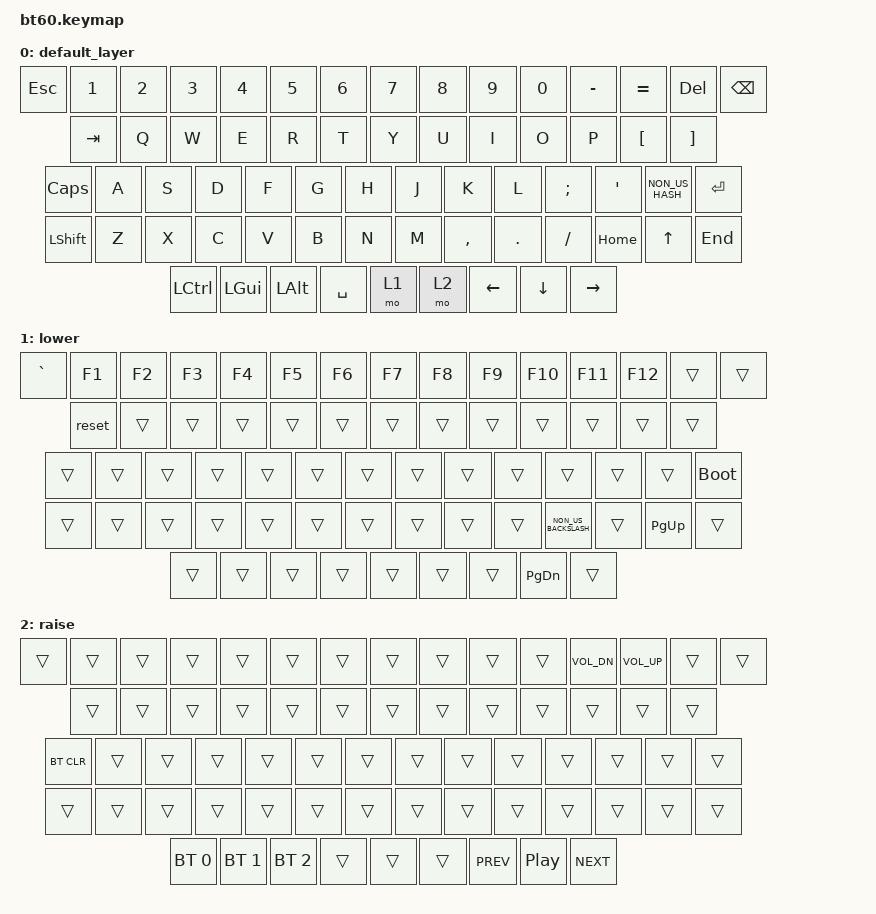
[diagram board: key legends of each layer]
#include <behaviors.dtsi>
#include <dt-bindings/zmk/keys.h>
#include <dt-bindings/zmk/bt.h>

#define DEFAULT 0
#define LOWER   1
#define RAISE   2

/ {
	keymap {
		compatible = "zmk,keymap";

		default_layer {
				// ------------------------------------------------------------------------------------------
				// | ESC |  1  |  2  |  3  |  4  |  5  |  6  |  7  |  8  |  9  |  0  |  -  |  =  | DEL |BKSP|
				// | TAB  |  Q  |  W  |  E  |  R  |  T  |  Y  |  U  |  I  |  O  |  P  |  [  |  ]  |         |
				// | CAPS  |  A  |  S  |  D  |  F  |  G  |  H  |  J  |  K  |  L  |  ;  | ' |NON_US_HASH|ENTER|
				// |  SHIFT |  Z  |  X  |  C  |  V  |  B  |  N  |  M  |  ,  |  .  |  /  |  \   |  UP | SHIFT|
				// |  CTL  |  WIN  |  ALT  |                 SPACE        | FN1 | FN2 | LEFT | DOWN | RIGHT |
				// ------------------------------------------------------------------------------------------
			bindings = <
				&kp ESC &kp N1 &kp N2 &kp N3 &kp N4 &kp N5 &kp N6 &kp N7 &kp N8    &kp N9  &kp N0   &kp MINUS &kp EQUAL &kp DEL &kp BSPC
				&kp TAB  &kp Q  &kp W  &kp E  &kp R  &kp T  &kp Y  &kp U  &kp  I    &kp  O  &kp P    &kp LBKT  &kp RBKT
				&kp CLCK  &kp A  &kp S  &kp D  &kp F  &kp G  &kp H  &kp J  &kp  K    &kp  L  &kp SEMI &kp SQT   &kp NON_US_HASH  &kp RET
				&kp LSHFT  &kp Z  &kp X  &kp C  &kp V  &kp B  &kp N  &kp M  &kp COMMA &kp DOT &kp FSLH &kp HOME  &kp UP   &kp END
				&kp LCTRL &kp LGUI &kp LALT            &kp SPACE                      &mo 1   &mo 2    &kp LEFT  &kp DOWN &kp RIGHT
			>;
		};
		
		lower {
			bindings = <
				&kp GRAVE &kp F1 &kp F2 &kp F3 &kp F4 &kp F5 &kp F6 &kp F7 &kp F8 &kp F9 &kp F10 &kp F11 &kp F12  &trans &trans
				&reset      &trans &trans &trans &trans &trans &trans &trans &trans &trans &trans &trans &trans
				&trans        &trans &trans &trans &trans &trans &trans &trans &trans &trans &trans &trans &trans &bootloader
				&trans          &trans &trans &trans &trans &trans &trans &trans &trans &trans &kp NON_US_BACKSLASH &trans &kp PG_UP &trans
				&trans &trans &trans                         &trans                     &trans        &trans        &trans &kp PG_DN &trans
			>;
		};
		
		raise {
			bindings = <
				&trans &trans &trans &trans &trans &trans &trans &trans &trans &trans &trans &kp C_VOL_DN &kp C_VOL_UP &trans &trans 
				&trans   &trans &trans &trans &trans &trans &trans &trans &trans &trans &trans &trans &trans
				&bt BT_CLR &trans &trans &trans &trans &trans &trans &trans &trans &trans &trans &trans &trans &trans
				&trans     &trans &trans &trans &trans &trans &trans &trans &trans &trans &trans &trans     &trans           &trans
				&bt BT_SEL 0 &bt BT_SEL 1 &bt BT_SEL 2          &trans           &trans &trans &kp C_PREV &kp C_PLAY_PAUSE &kp C_NEXT
			>;
		};
	};
};
